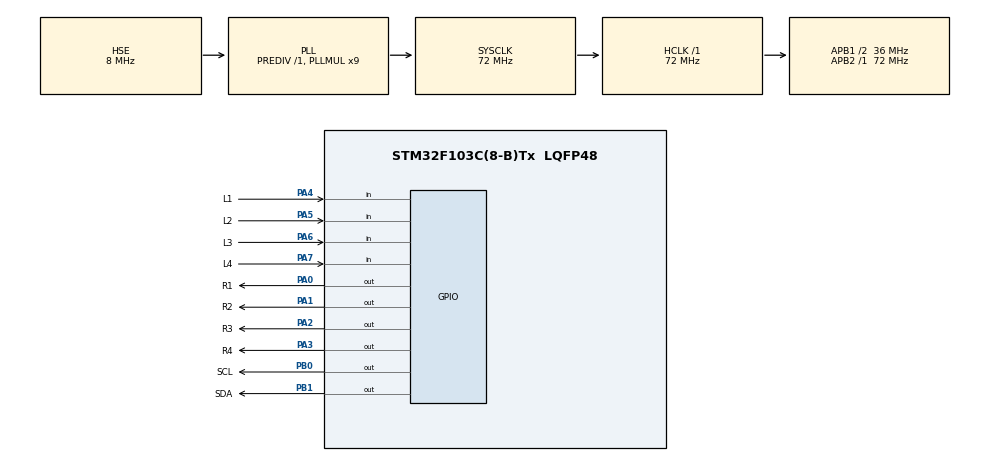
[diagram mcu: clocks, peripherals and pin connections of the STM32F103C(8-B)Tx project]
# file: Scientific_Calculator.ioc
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Mcu.Family=STM32F1
Mcu.Name=STM32F103C(8-B)Tx
Mcu.Package=LQFP48
NVIC.PriorityGroup=NVIC_PRIORITYGROUP_4
PA0-WKUP.GPIO_Label=R1
PA0-WKUP.PinState=GPIO_PIN_SET
PA0-WKUP.Signal=GPIO_Output
PA1.GPIO_Label=R2
PA1.PinState=GPIO_PIN_SET
PA1.Signal=GPIO_Output
PA13.Mode=Serial_Wire
PA13.Signal=SYS_JTMS-SWDIO
PA14.Mode=Serial_Wire
PA14.Signal=SYS_JTCK-SWCLK
PA2.GPIO_Label=R3
PA2.PinState=GPIO_PIN_SET
PA2.Signal=GPIO_Output
PA3.GPIO_Label=R4
PA3.PinState=GPIO_PIN_SET
PA3.Signal=GPIO_Output
PA4.GPIO_Label=L1
PA4.GPIO_PuPd=GPIO_PULLUP
PA4.Signal=GPIO_Input
PA5.GPIO_Label=L2
PA5.GPIO_PuPd=GPIO_PULLUP
PA5.Signal=GPIO_Input
PA6.GPIO_Label=L3
PA6.GPIO_PuPd=GPIO_PULLUP
PA6.Signal=GPIO_Input
PA7.GPIO_Label=L4
PA7.GPIO_PuPd=GPIO_PULLUP
PA7.Signal=GPIO_Input
PB0.GPIO_Label=SCL
PB0.GPIO_ModeDefaultOutputPP=GPIO_MODE_OUTPUT_OD
PB0.GPIO_PuPd=GPIO_PULLUP
PB0.GPIO_Speed=GPIO_SPEED_FREQ_HIGH
PB0.PinState=GPIO_PIN_SET
PB0.Signal=GPIO_Output
PB1.GPIO_Label=SDA
PB1.GPIO_ModeDefaultOutputPP=GPIO_MODE_OUTPUT_OD
PB1.GPIO_PuPd=GPIO_PULLUP
PB1.GPIO_Speed=GPIO_SPEED_FREQ_HIGH
PB1.PinState=GPIO_PIN_SET
PB1.Signal=GPIO_Output
PC14-OSC32_IN.Mode=LSE-External-Oscillator
PC14-OSC32_IN.Signal=RCC_OSC32_IN
PC15-OSC32_OUT.Mode=LSE-External-Oscillator
PC15-OSC32_OUT.Signal=RCC_OSC32_OUT
PD0-OSC_IN.Mode=HSE-External-Oscillator
PD0-OSC_IN.Signal=RCC_OSC_IN
PD1-OSC_OUT.Mode=HSE-External-Oscillator
PD1-OSC_OUT.Signal=RCC_OSC_OUT
ProjectManager.HeapSize=0x200
ProjectManager.StackSize=0x400
ProjectManager.TargetToolchain=MDK-ARM V5.32
RCC.AHBFreq_Value=72000000
RCC.APB1CLKDivider=RCC_HCLK_DIV2
RCC.APB1Freq_Value=36000000
RCC.APB1TimFreq_Value=72000000
RCC.APB2Freq_Value=72000000
RCC.APB2TimFreq_Value=72000000
RCC.HCLKFreq_Value=72000000
RCC.PLLMUL=RCC_PLL_MUL9
RCC.PLLSourceVirtual=RCC_PLLSOURCE_HSE
RCC.SYSCLKFreq_VALUE=72000000
RCC.SYSCLKSource=RCC_SYSCLKSOURCE_PLLCLK
RCC.USBFreq_Value=72000000
board=custom

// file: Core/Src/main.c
/* USER CODE BEGIN Header */
/**
 ******************************************************************************
 * @file           : main.c
 * @brief          : Main program body
 ******************************************************************************
 * @attention
 *
 * Copyright (c) 2025 STMicroelectronics.
 * All rights reserved.
 *
 * This software is licensed under terms that can be found in the LICENSE file
 * in the root directory of this software component.
 * If no LICENSE file comes with this software, it is provided AS-IS.
 *
 ******************************************************************************
 */
/* USER CODE END Header */
#include "main.h"
#include "gpio.h"
#include "OLED.h"
#include <stdio.h>
#include <stdlib.h>
#include <string.h>
#include <math.h>

void SystemClock_Config(void);
/* USER CODE BEGIN PFP */
char buttonCheck(void);
void Calculator_Init(void);
void Calculator_Input(char key);
double Calculate_Result(char* formula);
/* USER CODE END PFP */

/* USER CODE BEGIN 0 */
#define MAX_STACK 20
double num_stack[MAX_STACK];
char op_stack[MAX_STACK];
int num_top = -1;
int op_top = -1;
void push_num(double val){
    if(num_top < MAX_STACK-1) num_stack[++num_top] = val;
}
double pop_num(){
    return (num_top >= 0) ? num_stack[num_top--] : 0;
}
double peek_num(){
    return (num_top >= 0) ? num_stack[num_top] : 0;
}
void push_op(char op){
    if(op_top < MAX_STACK-1) op_stack[++op_top] = op;
}
char pop_op(){
    return (op_top >= 0) ? op_stack[op_top--] : 0;
}
char peek_op(){
    return (op_top >= 0) ? op_stack[op_top] : 0;
}
int get_priority(char op){
    if (op == '+' || op == '-') return 1;
    if (op == '*' || op == '/') return 2;
    return 0;
}
void do_calculation(){
    double b = pop_num();
    double a = pop_num();
    char op = pop_op();
    double res = 0;
    switch(op) {
        case '+': res = a + b; break;
        case '-': res = a - b; break;
        case '*': res = a * b; break;
        case '/': res = (b != 0) ? (a / b) : 0; break;
    }
    push_num(res);
}
double Calculate_Result(char* formula){
    num_top = -1;
    op_top = -1;
    int i = 0;
    while(formula[i] != '\0'){
        if((formula[i] >= '0' && formula[i] <= '9') || formula[i] == '.'){
            char* end_ptr;
            double val = strtod(&formula[i], &end_ptr);
            push_num(val);
            i = end_ptr - formula;
            continue;
        }else if(formula[i] == '+' || formula[i] == '-' || formula[i] == '*' || formula[i] == '/'){
            while(op_top >= 0 && get_priority(peek_op()) >= get_priority(formula[i])){
                do_calculation();
            }
            push_op(formula[i]);
        }
        i++;
    }
    while(op_top >= 0){
        do_calculation();
    }
    return num_stack[0];
}
char KEY_MAP[4][4] = {
    {'7', '8', '9', '/'},
    {'4', '5', '6', '*'},
    {'1', '2', '3', '-'},
    {'C', '0', '=', '+'}
    };
char formula_buf[64];
uint8_t buf_index = 0;
uint32_t last_scan_time = 0;
char key = ' ';

/* USER CODE END 0 */

int main(void)
{

    /* MCU Configuration--------------------------------------------------------*/

    /* Reset of all peripherals, Initializes the Flash interface and the Systick. */
    HAL_Init();

    /* Configure the system clock */
    SystemClock_Config();

    /* Initialize all configured peripherals */
    MX_GPIO_Init();
    /* USER CODE BEGIN 2 */

    OLED_Init();
    OLED_Clear();
    /* USER CODE END 2 */

    /* Infinite loop */
    /* USER CODE BEGIN WHILE */
    while(1){
        if(HAL_GetTick() - last_scan_time > 20){
            last_scan_time = HAL_GetTick();
            key = buttonCheck();
            if(key != ' '){
                if(key == 'C'){
                    Calculator_Init();
                }else if(key == '='){
                    double result = Calculate_Result(formula_buf);
                    char result_str[20];
                    sprintf(result_str, "=%g", result);
                    OLED_ShowString(2, 1, result_str);
                }else{
                    Calculator_Input(key);
                }
            }
        }

        /* USER CODE END WHILE */

    }
}

void SystemClock_Config(void)
{
    RCC_OscInitTypeDef RCC_OscInitStruct = {0};
    RCC_ClkInitTypeDef RCC_ClkInitStruct = {0};

    /** Initializes the RCC Oscillators according to the specified parameters
     * in the RCC_OscInitTypeDef structure.
     */
    RCC_OscInitStruct.OscillatorType = RCC_OSCILLATORTYPE_HSE;
    RCC_OscInitStruct.HSEState = RCC_HSE_ON;
    RCC_OscInitStruct.HSEPredivValue = RCC_HSE_PREDIV_DIV1;
    RCC_OscInitStruct.HSIState = RCC_HSI_ON;
    RCC_OscInitStruct.PLL.PLLState = RCC_PLL_ON;
    RCC_OscInitStruct.PLL.PLLSource = RCC_PLLSOURCE_HSE;
    RCC_OscInitStruct.PLL.PLLMUL = RCC_PLL_MUL9;
    if (HAL_RCC_OscConfig(&RCC_OscInitStruct) != HAL_OK)
    {
        Error_Handler();
    }

    /** Initializes the CPU, AHB and APB buses clocks
     */
    RCC_ClkInitStruct.ClockType = RCC_CLOCKTYPE_HCLK | RCC_CLOCKTYPE_SYSCLK | RCC_CLOCKTYPE_PCLK1 | RCC_CLOCKTYPE_PCLK2;
    RCC_ClkInitStruct.SYSCLKSource = RCC_SYSCLKSOURCE_PLLCLK;
    RCC_ClkInitStruct.AHBCLKDivider = RCC_SYSCLK_DIV1;
    RCC_ClkInitStruct.APB1CLKDivider = RCC_HCLK_DIV2;
    RCC_ClkInitStruct.APB2CLKDivider = RCC_HCLK_DIV1;

    if (HAL_RCC_ClockConfig(&RCC_ClkInitStruct, FLASH_LATENCY_2) != HAL_OK)
    {
        Error_Handler();
    }
}

/* USER CODE BEGIN 4 */
/*char buttonCheck(void){
    GPIOA -> ODR |= 0x000F;
    for(uint8_t r = 0;r < 4;r++){
        GPIOA -> ODR &= ~(1 << r);
        for(uint8_t l = 0;l<4;l++){
            if((GPIOA -> IDR & (1 <<(l+4))) == 0){
                if(key == ' '){
                    HAL_Delay(10);
                    if((GPIOA -> IDR & (1 <<(l+4))) == 0){
                        GPIOA -> ODR |= (1 << r);
                        return KEY_MAP[r][l];
                    }
                }else{
                    return key;
                }
            }

        }
        GPIOA -> ODR |= (1 << r);
    }
    if(key_lock == 1){
        HAL_Delay(10);
    }
    GPIOA -> ODR |= 0x000F;
    return ' ';
}*/
char buttonCheck(void){
    static char last_key = ' ';
    char current_key = ' ';
    GPIOA->ODR |= 0x000F;
    for(uint8_t r = 0; r < 4; r++){
        GPIOA->ODR &= ~(1 << r);
        for(uint8_t l = 0; l < 4; l++){
            if((GPIOA->IDR & (1 << (l+4))) == 0){
                HAL_Delay(5);
                if((GPIOA->IDR & (1 << (l+4))) == 0){
                    current_key = KEY_MAP[r][l];
                    if(current_key != last_key) {
                        last_key = current_key;
                        return current_key;
                    } else {
                        return ' ';
                    }
                }
            }
        }
        GPIOA->ODR |= (1 << r);
    }
    last_key = ' ';
    return ' ';
}
void Calculator_Init(void){
    buf_index = 0;
    for(uint8_t i = 0;i < 64;i++){
        formula_buf[i] = 0;
    }
    OLED_Clear();
    OLED_ShowString(1,1,"Ready");
}
void Calculator_Input(char key){
    if (buf_index < 60) {
        formula_buf[buf_index++] = key;
        formula_buf[buf_index] = '\0';
        OLED_Clear();
        OLED_ShowString(1, 1, formula_buf);
    }
}

/* USER CODE END 4 */

void Error_Handler(void)
{
    __disable_irq();
    while (1)
    {
    }
}
